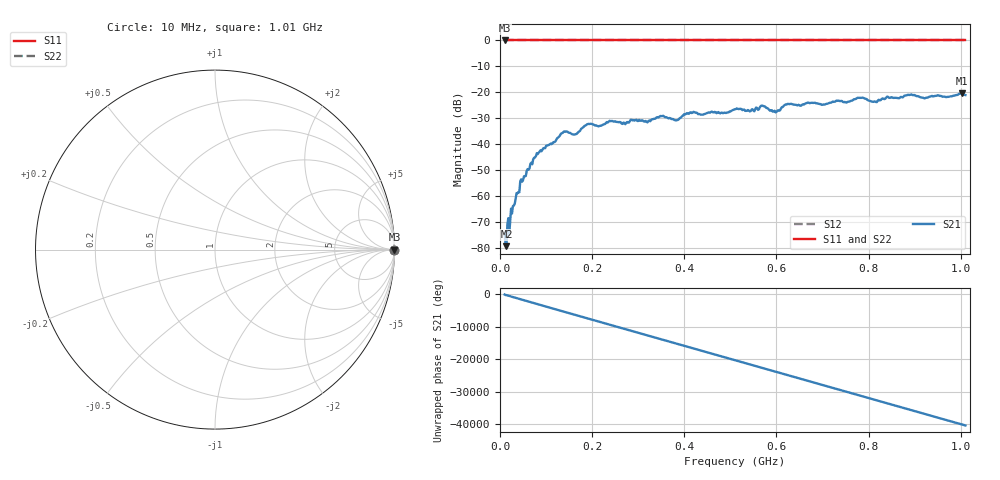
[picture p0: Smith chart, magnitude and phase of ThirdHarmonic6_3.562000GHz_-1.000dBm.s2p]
! 8/17/2025 11:47:05 AM
! C:\ANRITSUVNA\TEMP\TEMP.S2P
! CHANNEL.1
! TR.MEASUREMENT
! RAW.DATA
! RF.CORRECTION.OFF
! AVERAGING.OFF
! IF.BANDWIDTH: 5KHZ
! SWEEPTYPE:  FREQ.SWEEP(Linear)
! Reference Plane Port Info
! PORT:  PORT1  PORT2
! DISTANCE:  0  m  0  m
! TIME:  0  s  0  s
! PHASE.OFFSET:  0  deg.  0  deg.
! LOSS:  0  dB  0  dB
! REF.LOSS:  0  dB  0  dB
! REF.FREQ:  0  Hz  0  Hz
! Power Info
! POWER:  -20  dBm  -20  dBm
! EFF.POWER:  -20  dBm  -20  dBm
! SOURCE.ATTEN:  0  dB  0  dB
! TEST.ATTEN:  0  dB  0  dB
# GHZ S RI R 50.0
! FREQ.GHZ  S11RE  S11IM  S21RE  S21IM  S12RE  S12IM  S22RE  S22IM
!; PortSelection: Port_12
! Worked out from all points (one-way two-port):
!   501 points, 10 MHz to 1.01 GHz, reference 50 ohm
!   highest |S21| = -20.41 dB at 1.002 GHz (marker M1); lowest = -79.3 dB at 14 MHz (marker M2)
!   lowest |S11| = 0.0 dB at 10 MHz (marker M3)
!   |S11| at or under -10 dB: nowhere
!   |S22| runs from 0.0 to 0.0 dB; largest |S21 - S12| = 1.1
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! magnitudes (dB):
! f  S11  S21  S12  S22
! 10 MHz  0.0  -74.2  0.0  0.0
! 14 MHz  0.0  -79.3  0.0  0.0
! 16 MHz  0.0  -71.0  0.0  0.0
! 28 MHz  0.0  -63.8  0.0  0.0
! 48 MHz  0.0  -54.4  0.0  0.0
! 76 MHz  0.0  -45.1  0.0  0.0
! 136 MHz  0.0  -35.6  0.0  0.0
! 162 MHz  0.0  -36.3  0.0  0.0
! 178 MHz  0.0  -33.8  0.0  0.0
! 344 MHz  0.0  -29.7  0.0  0.0
! 382 MHz  0.0  -30.8  0.0  0.0
! 416 MHz  0.0  -28.0  0.0  0.0
! 510 MHz  0.0  -26.5  0.0  0.0
! 570 MHz  0.0  -25.1  0.0  0.0
! 596 MHz  0.0  -27.1  0.0  0.0
! 622 MHz  0.0  -24.7  0.0  0.0
! 678 MHz  0.0  -24.1  0.0  0.0
! 782 MHz  0.0  -22.1  0.0  0.0
! 814 MHz  0.0  -23.5  0.0  0.0
! 844 MHz  0.0  -22.1  0.0  0.0
! 1.002 GHz  0.0  -20.4  0.0  0.0
! 1.01 GHz  0.0  -21.0  0.0  0.0
